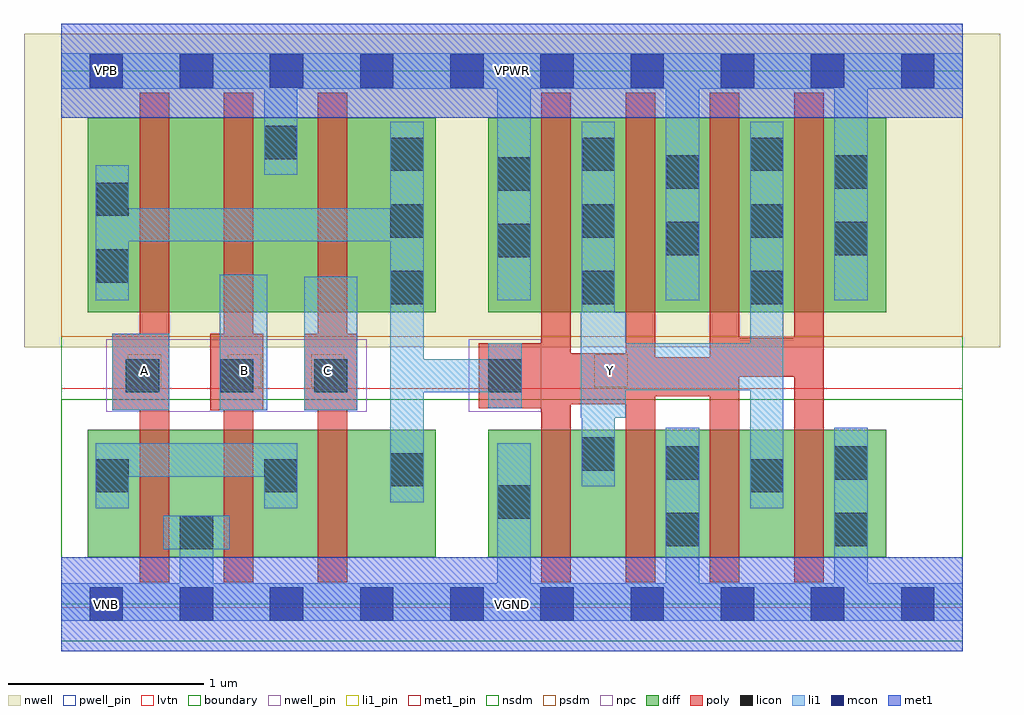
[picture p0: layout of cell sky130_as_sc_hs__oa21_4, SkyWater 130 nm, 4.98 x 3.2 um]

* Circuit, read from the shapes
.subckt sky130_as_sc_hs__oa21_4 A B C VGND VNB VPB VPWR Y
XM1 VGND A n1 VNB sky130_fd_pr__nfet_01v8_lvt w=0.65 l=0.15
XM2 n1 B VGND VNB sky130_fd_pr__nfet_01v8_lvt w=0.65 l=0.15
XM3 n2 C n1 VNB sky130_fd_pr__nfet_01v8_lvt w=0.65 l=0.15
XM4 Y n2 VGND VNB sky130_fd_pr__nfet_01v8_lvt w=0.65 l=0.15 m=4
XM5 n3 A n2 VPB sky130_fd_pr__pfet_01v8 w=0.99 l=0.15
XM6 VPWR B n3 VPB sky130_fd_pr__pfet_01v8 w=0.99 l=0.15
XM7 n2 C VPWR VPB sky130_fd_pr__pfet_01v8 w=0.99 l=0.15
XM8 Y n2 VPWR VPB sky130_fd_pr__pfet_01v8 w=0.99 l=0.15 m=4
.ends

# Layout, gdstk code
import gdstk
lib = gdstk.Library(unit=1e-6, precision=1e-09)
def R(c, l, rs):  # rectangles x0, y0, x1, y1
    for r in rs: c.add(gdstk.rectangle(r[:2], r[2:], *l))
def A(c, l, x, y, w, h, nx, ny, dx, dy):  # array of equal rectangles
    R(c, l, [(x+i*dx, y+j*dy, x+i*dx+w, y+j*dy+h) for i in range(nx) for j in range(ny)])
nwell_pin = (64, 16)
nwell = (64, 20)
diff = (65, 20)
poly = (66, 20)
licon = (66, 44)
li1_pin = (67, 16)
li1 = (67, 20)
mcon = (67, 44)
met1_pin = (68, 16)
met1 = (68, 20)
nsdm = (93, 44)
psdm = (94, 20)
npc = (95, 20)
pwell_pin = (122, 16)
lvtn = (125, 44)
boundary = (235, 4)

sky130_as_sc_hs__oa21_4 = lib.new_cell('sky130_as_sc_hs__oa21_4')
R(sky130_as_sc_hs__oa21_4, nwell_pin, [(0.145,2.635,0.315,2.805)])
R(sky130_as_sc_hs__oa21_4, nwell, [(-0.19,1.31,4.79,2.91)])
R(sky130_as_sc_hs__oa21_4, diff, [(0.135,0.24,1.91,0.89), (2.18,0.24,4.21,0.89), (0.135,1.49,1.91,2.48), (2.18,1.49,4.21,2.48)])
R(sky130_as_sc_hs__oa21_4, poly, [(0.4,0.11,0.55,0.99), (0.83,0.11,0.98,0.99), (1.31,0.11,1.46,0.99), (2.45,0.11,2.6,1), (2.88,0.11,3.03,1.02), (3.31,0.11,3.46,1.06), (3.74,0.11,3.89,1.16), (0.26,0.99,0.55,1.38), (0.76,0.99,1.03,1.38), (1.24,0.99,1.51,1.38), (2.13,1,2.6,1.02), (2.13,1.02,3.03,1.06), (2.13,1.06,3.46,1.16), (2.13,1.16,3.89,1.26), (2.13,1.26,3.03,1.28), (3.31,1.26,3.89,1.36), (2.13,1.28,2.6,1.33), (2.88,1.28,3.03,2.61), (2.45,1.33,2.6,2.61), (3.31,1.36,3.46,2.61), (3.74,1.36,3.89,2.61), (0.4,1.38,0.55,2.61), (0.83,1.38,0.98,2.61), (1.31,1.38,1.46,2.61)])
A(sky130_as_sc_hs__oa21_4, licon, 0.33, 1.08, 0.17, 0.17, 3, 1, 0.48, 0)
A(sky130_as_sc_hs__oa21_4, licon, 1.68, 1.53, 0.17, 0.17, 1, 3, 0, 0.34)
A(sky130_as_sc_hs__oa21_4, licon, 2.655, 1.53, 0.17, 0.17, 1, 3, 0, 0.34)
A(sky130_as_sc_hs__oa21_4, licon, 3.515, 1.53, 0.17, 0.17, 1, 3, 0, 0.34)
R(sky130_as_sc_hs__oa21_4, licon, [(0.605,0.28,0.775,0.45), (3.085,0.295,3.255,0.465), (3.945,0.295,4.115,0.465), (2.225,0.435,2.395,0.605), (0.175,0.57,0.345,0.74), (1.035,0.57,1.205,0.74), (3.515,0.57,3.685,0.74), (1.68,0.6,1.85,0.77), (3.085,0.635,3.255,0.805), (3.945,0.635,4.115,0.805), (2.655,0.68,2.825,0.85), (2.18,1.08,2.35,1.25), (0.175,1.64,0.345,1.81), (2.225,1.77,2.395,1.94), (3.085,1.78,3.255,1.95), (3.945,1.78,4.115,1.95), (0.175,1.98,0.345,2.15), (2.225,2.11,2.395,2.28), (3.085,2.12,3.255,2.29), (3.945,2.12,4.115,2.29), (1.035,2.27,1.205,2.44)])
R(sky130_as_sc_hs__oa21_4, li1_pin, [(0.34,1.105,0.51,1.275), (0.85,1.105,1.02,1.275), (1.275,1.105,1.445,1.275), (2.72,1.105,2.89,1.275)])
A(sky130_as_sc_hs__oa21_4, li1, 2.225, 1.55, 0.17, 1.08, 3, 1, 0.86, 0)
R(sky130_as_sc_hs__oa21_4, li1, [(0,-0.085,4.6,0.105), (0.605,0.105,0.775,0.28), (2.225,0.105,2.395,0.82), (3.085,0.105,3.255,0.9), (3.945,0.105,4.115,0.9), (0.52,0.28,0.86,0.45), (0.175,0.49,0.345,0.65), (1.035,0.49,1.205,0.65), (3.515,0.49,3.685,1.09), (1.68,0.52,1.85,1.08), (2.655,0.6,2.825,0.95), (0.175,0.65,1.205,0.82), (2.65,0.95,2.88,1.09), (0.26,0.99,0.55,1.38), (0.81,0.99,1.05,1.68), (1.24,0.99,1.51,1.67), (2.18,1,2.35,1.08), (1.68,1.08,2.35,1.25), (2.65,1.09,3.685,1.33), (1.68,1.25,1.85,1.85), (2.18,1.25,2.35,1.33), (2.65,1.33,2.88,1.49), (3.515,1.33,3.685,2.46), (2.655,1.49,2.825,2.46), (0.175,1.55,0.345,1.85), (0.175,1.85,1.85,2.02), (0.175,2.02,0.345,2.24), (1.68,2.02,1.85,2.46), (1.035,2.19,1.205,2.63), (0,2.63,4.6,2.81)])
A(sky130_as_sc_hs__oa21_4, mcon, 0.145, -0.085, 0.17, 0.17, 10, 2, 0.46, 2.72)
R(sky130_as_sc_hs__oa21_4, met1_pin, [(0,-0.24,4.6,0.24), (0.145,-0.085,0.315,0.085), (0,2.48,4.6,2.96), (0.145,2.635,0.315,2.805)])
R(sky130_as_sc_hs__oa21_4, met1, [(0,-0.24,4.6,0.24), (0,2.48,4.6,2.96)])
R(sky130_as_sc_hs__oa21_4, nsdm, [(0,-0.19,4.6,1.045)])
R(sky130_as_sc_hs__oa21_4, psdm, [(0,1.365,4.6,2.91)])
R(sky130_as_sc_hs__oa21_4, npc, [(0.23,0.98,1.56,1.35), (2.08,0.98,2.45,1.35)])
R(sky130_as_sc_hs__oa21_4, pwell_pin, [(0.145,-0.085,0.315,0.085)])
R(sky130_as_sc_hs__oa21_4, lvtn, [(0,-0.02,4.6,1.1)])
R(sky130_as_sc_hs__oa21_4, boundary, [(0,0,4.6,2.72)])
sky130_as_sc_hs__oa21_4.add(gdstk.Label('VNB', (0.23,0), layer=64, texttype=59))
sky130_as_sc_hs__oa21_4.add(gdstk.Label('VPB', (0.23,2.72), layer=64, texttype=5))
sky130_as_sc_hs__oa21_4.add(gdstk.Label('A', (0.425,1.19), layer=67, texttype=5))
sky130_as_sc_hs__oa21_4.add(gdstk.Label('B', (0.935,1.19), layer=67, texttype=5))
sky130_as_sc_hs__oa21_4.add(gdstk.Label('C', (1.36,1.19), layer=67, texttype=5))
sky130_as_sc_hs__oa21_4.add(gdstk.Label('Y', (2.805,1.19), layer=67, texttype=5))
sky130_as_sc_hs__oa21_4.add(gdstk.Label('VNB', (0.23,0), layer=64, texttype=59))
sky130_as_sc_hs__oa21_4.add(gdstk.Label('VPB', (0.23,2.72), layer=64, texttype=5))
sky130_as_sc_hs__oa21_4.add(gdstk.Label('VPWR', (2.3,2.72), layer=68, texttype=5))
sky130_as_sc_hs__oa21_4.add(gdstk.Label('VPWR', (0.23,2.72), layer=68, texttype=5))
sky130_as_sc_hs__oa21_4.add(gdstk.Label('VGND', (2.3,0), layer=68, texttype=5))
sky130_as_sc_hs__oa21_4.add(gdstk.Label('VGND', (0.23,0), layer=68, texttype=5))
sky130_as_sc_hs__oa21_4.add(gdstk.Label('A', (0.425,1.19), layer=67, texttype=5))
sky130_as_sc_hs__oa21_4.add(gdstk.Label('B', (0.935,1.19), layer=67, texttype=5))
sky130_as_sc_hs__oa21_4.add(gdstk.Label('C', (1.36,1.19), layer=67, texttype=5))
sky130_as_sc_hs__oa21_4.add(gdstk.Label('Y', (2.805,1.19), layer=67, texttype=5))

lib.write_gds('sky130_as_sc_hs__oa21_4.gds')
